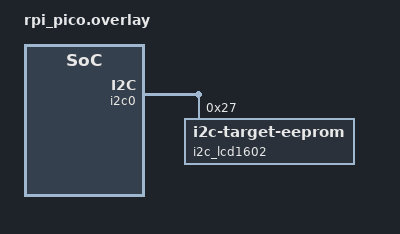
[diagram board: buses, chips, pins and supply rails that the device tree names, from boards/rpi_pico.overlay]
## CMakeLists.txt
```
# SPDX-License-Identifier: Apache-2.0

cmake_minimum_required(VERSION 3.20.0)

find_package(Zephyr REQUIRED HINTS $ENV{ZEPHYR_BASE})
project(i2c-lcd1602)

target_sources(app PRIVATE src/main.c)
```

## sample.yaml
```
sample:
  name:I2C LCD1602
```

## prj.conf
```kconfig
CONFIG_STDOUT_CONSOLE=y
CONFIG_PRINTK=y
CONFIG_LOG=y
CONFIG_LOG_PRINTK=y
CONFIG_LOG_MODE_IMMEDIATE=y
CONFIG_I2C=y
```

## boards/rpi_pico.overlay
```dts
/*
 * SPDX-License-Identifier: Apache-2.0
 */

&i2c0 {
    status = "okay";
    i2c_lcd1602: i2c_lcd1602@27 {
        compatible = "zephyr,i2c-target-eeprom";
        reg = <0x27>;
    };
};
```

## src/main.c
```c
/*
 * This code is based on sunfunder sample code in following repository.
 *  https://github.com/sunfounder/davinci-kit-for-raspberry-pi/blob/master/c/1.1.7/1.1.7_Lcd1602.c
 */
/*
 * SPDX-License-Identifier: GPL-2.0-or-later
 */

/**
 * @file i2c lcd1602 controll
 */

#include <zephyr/kernel.h>
#include <zephyr/sys/printk.h>
#include <zephyr/device.h>
#include <zephyr/drivers/i2c.h>

int BLEN = 1;

static const struct i2c_dt_spec lcd1602 = 
				I2C_DT_SPEC_GET(DT_NODELABEL(i2c_lcd1602));

void write_word(uint8_t data){
    uint8_t temp = data;
    if ( BLEN == 1 )
        temp |= 0x08;
    else
        temp &= 0xF7;
    i2c_write_dt(&lcd1602, &temp, 1);
}

void send_command(uint8_t comm){
    uint8_t buf;
    // Send bit7-4 firstly
    buf = comm & 0xF0;
    buf |= 0x04;                    // RS = 0, RW = 0, EN = 1
    write_word(buf);
    k_msleep(2);
    buf &= 0xFB;                    // Make EN = 0
    write_word(buf);

    // Send bit3-0 secondly
    buf = (comm & 0x0F) << 4;
    buf |= 0x04;                    // RS = 0, RW = 0, EN = 1
    write_word(buf);
    k_msleep(2);
    buf &= 0xFB;                    // Make EN = 0
    write_word(buf);
}

void send_data(uint8_t data){
    uint8_t buf;
    // Send bit7-4 firstly
    buf = data & 0xF0;
    buf |= 0x05;                    // RS = 1, RW = 0, EN = 1
    write_word(buf);
    k_msleep(2);
    buf &= 0xFB;                    // Make EN = 0
    write_word(buf);

    // Send bit3-0 secondly
    buf = (data & 0x0F) << 4;
    buf |= 0x05;                    // RS = 1, RW = 0, EN = 1
    write_word(buf);
    k_msleep(2);
    buf &= 0xFB;                    // Make EN = 0
    write_word(buf);
}

void init(){
    send_command(0x33);     // Must initialize to 8-line mode at first
    k_msleep(5);
    send_command(0x32);     // Then initialize to 4-line mode
    k_msleep(5);
    send_command(0x28);     // 2 Lines & 5*7 dots
    k_msleep(5);
    send_command(0x0C);     // Enable display without cursor
    k_msleep(5);
    send_command(0x01);     // Clear Screen
    i2c_write_dt(&lcd1602, 0x8, 1);
}

void clear(){
    send_command(0x01);     //clear Screen
}

void write(uint8_t x, uint8_t y, char data[]){
    uint8_t addr, i;
    uint8_t tmp;
    if (x < 0)  x = 0;
    if (x > 15) x = 15;
    if (y < 0)  y = 0;
    if (y > 1)  y = 1;

    // Move cursor
    addr = 0x80 + 0x40 * y + x;
    send_command(addr);

    tmp = strlen(data);
    for (i = 0; i < tmp; i++){
        send_data(data[i]);
    }
}

int main(void)
{
	printk("start!\n");
	if (!i2c_is_ready_dt(&lcd1602)) {
		return 0;
	}
	printk("device is ready!\n");

	init();
	printk("device init!\n");

	while (1) {
		printk("Zephyr OS\nI2C LCD1602\n\n");
		write(0, 0, "Zephyr OS");
    	write(0, 1, "I2C LCD1602");
		k_msleep(5000);
		clear();
		printk("Smaple code\nis running!\n\n");
		write(0, 0, "Smaple code");
    	write(1, 1, "is running!");
		k_msleep(5000);
		clear();
	}
	return 0;
}
```
